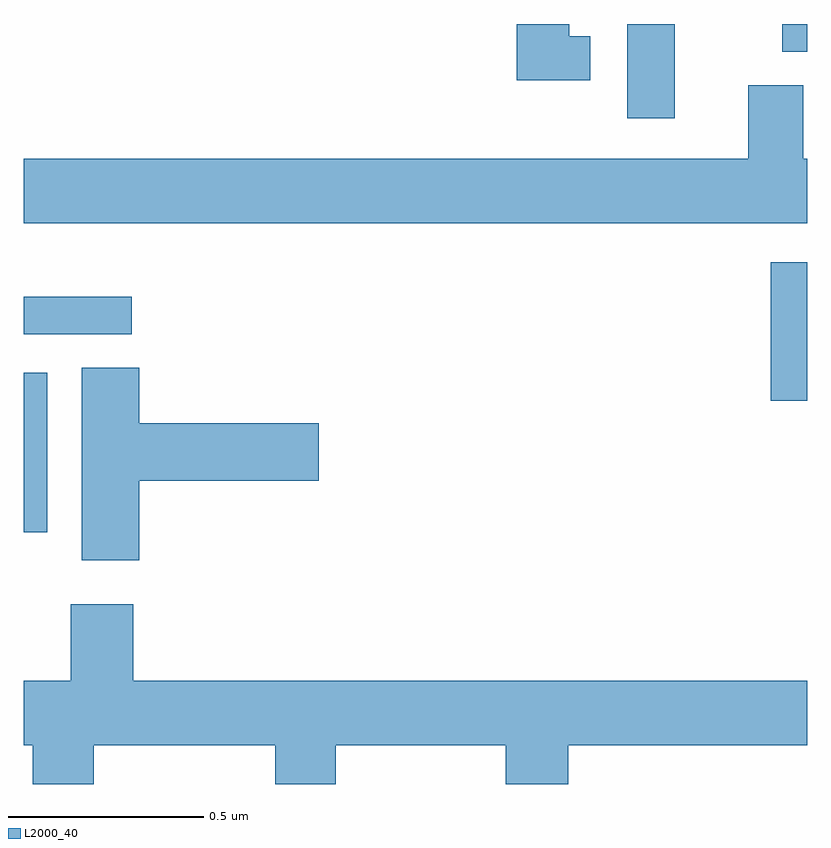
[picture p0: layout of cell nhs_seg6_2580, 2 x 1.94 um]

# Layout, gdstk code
import gdstk
lib = gdstk.Library(unit=1e-6, precision=1e-09)
def R(c, l, rs):  # rectangles x0, y0, x1, y1
    for r in rs: c.add(gdstk.rectangle(r[:2], r[2:], *l))
def P(c, l, *ps):  # polygons
    for p in ps: c.add(gdstk.Polygon(p, *l))
L2000_40 = (2000, 40)

nhs_seg6_2580 = lib.new_cell('nhs_seg6_2580')
R(nhs_seg6_2580, L2000_40, [(145,957.203,145.06,957.61), (146.906,957.539,147,957.892), (145,957.708,145.276,957.804), (146.54,958.26,146.662,958.5), (146.936,958.429,147,958.5)])
P(nhs_seg6_2580, L2000_40, [(146.446,958.469),(146.392,958.469),(146.392,958.5),(146.258,958.5),(146.258,958.356),(146.446,958.356)],
  [(147,958.156),(146.989,958.156),(146.989,958.344),(146.849,958.344),(146.849,958.156),(145,958.156),(145,957.992),(147,957.992)],
  [(145.295,957.335),(145.753,957.335),(145.753,957.482),(145.295,957.482),(145.295,957.623),(145.148,957.623),(145.148,957.132),(145.295,957.132)],
  [(145.179,956.66),(145.642,956.66),(145.642,956.561),(145.797,956.561),(145.797,956.66),(146.23,956.66),(146.23,956.561),(146.39,956.561),(146.39,956.66),(147,956.66),(147,956.824),(145.28,956.824),(145.28,957.019),(145.12,957.019),(145.12,956.824),(145,956.824),(145,956.66),(145.024,956.66),(145.024,956.561),(145.179,956.561)])

lib.write_gds('nhs_seg6_2580.gds')
